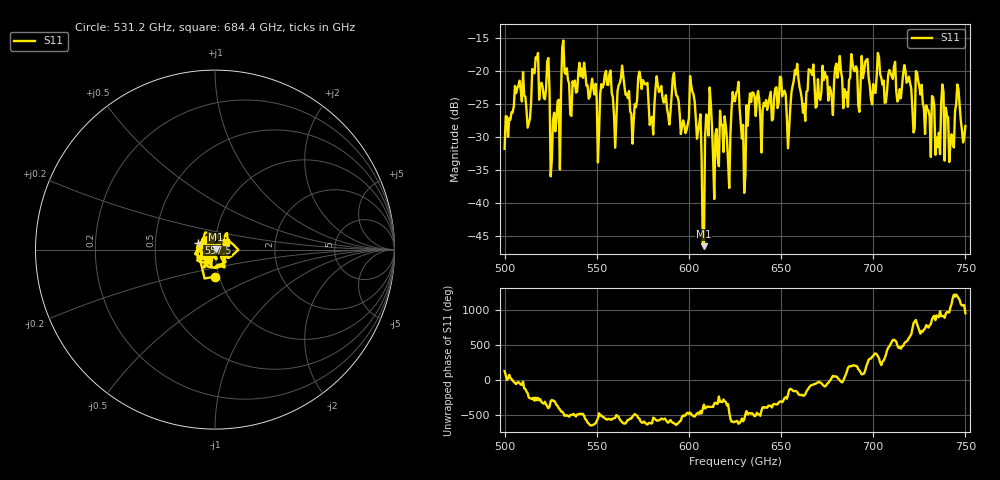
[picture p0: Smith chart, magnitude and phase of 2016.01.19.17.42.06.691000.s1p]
!Created with skrf (http://scikit-rf.org).
# GHz S RI R 50.0
!freq ReS11 ImS11
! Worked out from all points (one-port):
!   401 points, 500 GHz to 750 GHz, reference 50 ohm
!   lowest |S11| = -46.6 dB at 608.1 GHz (marker M1), VSWR 1.01, Z = 50.5 + j0.0934 ohm
!   |S11| at or under -10 dB: start of sweep to end of sweep
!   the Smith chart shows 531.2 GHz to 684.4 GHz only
!   S11 on the Smith chart (normalised r, x): 531.2 GHz: 0.96, -0.30; 557.5 GHz: 0.83, +0.07; 684.4 GHz: 1.12, +0.10
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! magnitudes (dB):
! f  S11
! 500 GHz  -31.8
! 506.9 GHz  -22.6
! 513.1 GHz  -27.9
! 516.9 GHz  -17.9
! 523.1 GHz  -18.5
! 526.2 GHz  -27.5
! 531.2 GHz  -16.4
! 557.5 GHz  -19.9
! 562.5 GHz  -21.8
! 569.4 GHz  -31.0
! 573.8 GHz  -21.0
! 579.4 GHz  -27.2
! 593.8 GHz  -23.8
! 601.9 GHz  -23.1
! 608.1 GHz  -46.6
! 610.6 GHz  -29.8
! 615 GHz  -28.8
! 625 GHz  -24.6
! 629.4 GHz  -28.2
! 634.4 GHz  -23.2
! 656.2 GHz  -22.3
! 684.4 GHz  -22.8
! 687.5 GHz  -21.0
! 718.8 GHz  -21.5
! 735 GHz  -31.5
! 742.5 GHz  -29.6
! 745.6 GHz  -22.0
! 750 GHz  -28.3
